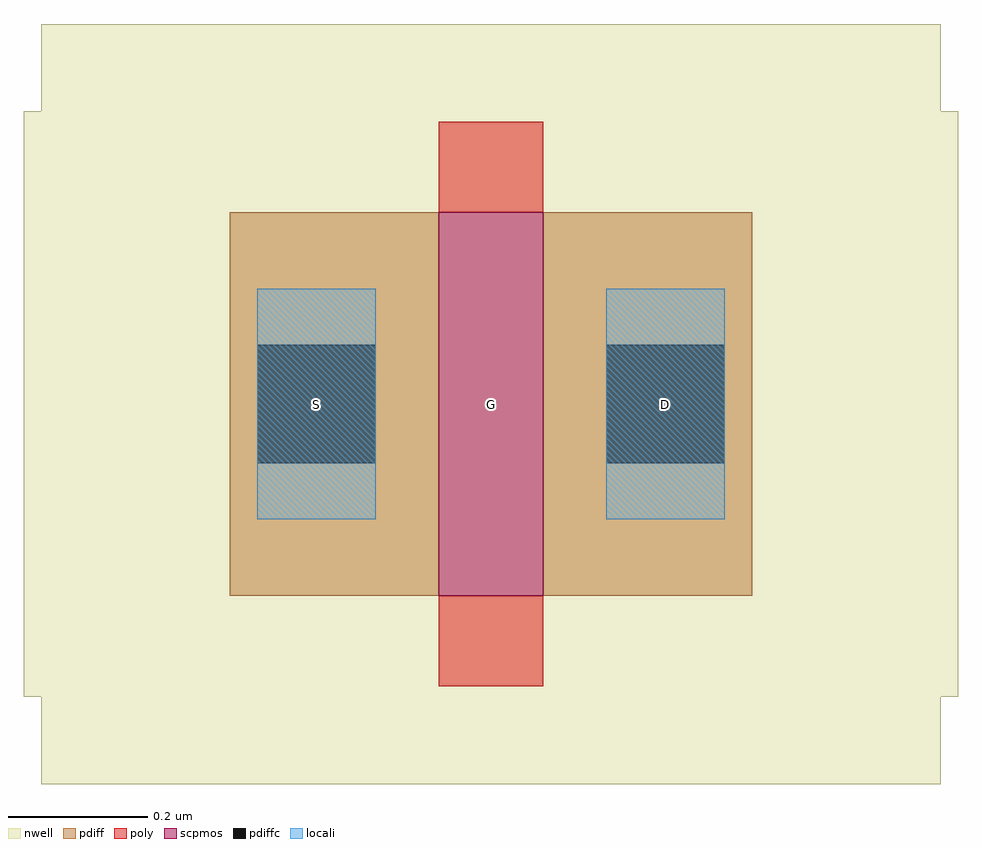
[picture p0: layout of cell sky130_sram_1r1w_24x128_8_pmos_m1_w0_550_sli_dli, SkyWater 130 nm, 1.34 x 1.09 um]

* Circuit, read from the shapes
.subckt sky130_sram_1r1w_24x128_8_pmos_m1_w0_550_sli_dli G S D
XM1 D G S n1 sky130_fd_pr__pfet_01v8 w=0.55 l=0.15
.ends

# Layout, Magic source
magic
tech sky130B
magscale 1 2
<< nwell >>
rect -54 -54 204 164
<< scpmos >>
rect 60 0 90 110
<< pdiff >>
rect 0 0 60 110
rect 90 0 150 110
<< poly >>
rect 60 110 90 136
rect 60 -26 90 0
<< locali >>
rect 8 22 42 88
rect 108 22 142 88
use sky130_sram_1r1w_24x128_8_contact_11  sky130_sram_1r1w_24x128_8_contact_11_0
transform 1 0 100 0 1 22
box -59 -51 109 117
use sky130_sram_1r1w_24x128_8_contact_11  sky130_sram_1r1w_24x128_8_contact_11_1
transform 1 0 0 0 1 22
box -59 -51 109 117
<< labels >>
rlabel poly s 75 55 75 55 4 G
port 1 nsew
rlabel locali s 25 55 25 55 4 S
port 2 nsew
rlabel locali s 125 55 125 55 4 D
port 3 nsew
<< properties >>
string FIXED_BBOX -54 -54 204 164
<< end >>

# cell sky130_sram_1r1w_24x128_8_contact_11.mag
magic
tech sky130B
magscale 1 2
<< nwell >>
rect -59 -51 109 117
<< pdiff >>
rect 0 50 50 62
rect 0 16 8 50
rect 42 16 50 50
rect 0 4 50 16
<< pdiffc >>
rect 8 16 42 50
<< locali >>
rect 8 50 42 66
rect 8 0 42 16
<< properties >>
string FIXED_BBOX -59 -51 109 117
<< end >>
